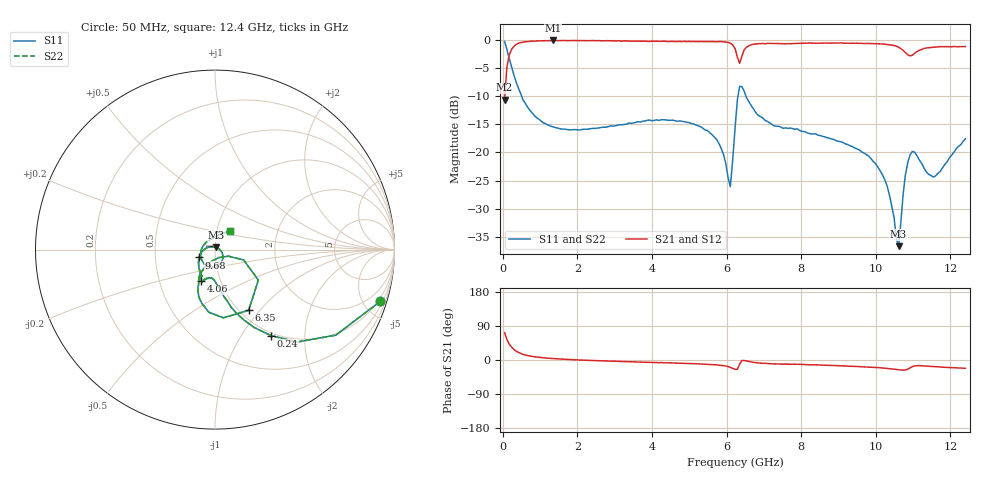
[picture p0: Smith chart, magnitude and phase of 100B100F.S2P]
!  American Technical Ceramics  Date:  3/13/98
!  One Norden Lane
!  Huntington Station,  NY.  11746-2102
!  Tel:  (516) 547-5700  Fax:  (516) 547-5748
!  Part Number  100b100f
!  Description: Porcelain, High Q, Low ESR
!  Application: Bypass, Coupling, Timing, Feedback
!  Tuning, Impedance Match, Blocking
# GHZ S DB R 50
! Freq  |S11|  S11 Ph  |S21|  S21 Ph  |S12|  S12 Ph  |S22|  S22 Ph
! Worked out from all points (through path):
!   201 points, 50 MHz to 12.4 GHz, reference 50 ohm
!   highest |S21| = -0.13 dB at 1.35 GHz (marker M1); lowest = -10.6 dB at 50 MHz (marker M2)
!   group delay of S21, straight-line fit = 7.98 ps
!   lowest |S11| = -36.6 dB at 10.61 GHz (marker M3), VSWR 1.03, Z = 50.8 + j1.25 ohm
!   |S11| at or under -10 dB: 505.6 MHz to 6.305 GHz (5.8 GHz wide, 170 % of centre); 6.517 GHz to end of sweep
!   |S22| runs from -36.6 to -0.3 dB; largest |S21 - S12| = 0
!   S11 on the Smith chart (normalised r, x): 50 MHz: 0.79, -6.42; 240 MHz: 0.96, -1.36; 4.06 GHz: 0.81, -0.29; 6.35 GHz: 1.10, -0.87; 9.68 GHz: 0.83, -0.07; 12.4 GHz: 1.15, +0.24
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0.05  -0.32 -17.4  -10.63 72.1  -10.63 72.1  -0.32 -17.4
0.11  -1.67 -35.3  -4.94 54.8  -4.94 54.8  -1.67 -35.3
0.24  -4.86 -57.0  -1.69 33.9  -1.69 33.9  -4.86 -57.0
0.54  -10.62 -76.6  -0.44 14.8  -0.44 14.8  -10.62 -76.6
1.35  -15.47 -92.3  -0.13 3.8  -0.13 3.8  -15.47 -92.3
2.15  -15.88 -101.0  -0.16 -0.4  -0.16 -0.4  -15.88 -101.0
4.06  -14.30 -114.3  -0.28 -6.6  -0.28 -6.6  -14.30 -114.3
4.19  -14.32 -115.7  -0.29 -7.0  -0.29 -7.0  -14.32 -115.7
5.61  -16.84 -121.0  -0.34 -11.9  -0.34 -11.9  -16.84 -121.0
5.92  -20.41 -118.1  -0.37 -14.9  -0.37 -14.9  -20.41 -118.1
6.1  -26.08 -64.3  -0.61 -19.3  -0.61 -19.3  -26.08 -64.3
6.23  -15.39 -19.9  -1.61 -24.9  -1.61 -24.9  -15.39 -19.9
6.35  -8.25 -61.0  -4.17 -10.7  -4.17 -10.7  -8.25 -61.0
6.66  -11.71 -111.0  -0.89 -5.2  -0.89 -5.2  -11.71 -111.0
8.32  -16.72 -124.8  -0.61 -12.6  -0.61 -12.6  -16.72 -124.8
9.68  -20.10 -153.9  -0.67 -18.0  -0.67 -18.0  -20.10 -153.9
10.36  -27.46 164.7  -0.90 -23.0  -0.90 -23.0  -27.46 164.7
10.61  -36.64 56.8  -1.33 -25.8  -1.33 -25.8  -36.64 56.8
10.79  -24.07 -42.6  -2.30 -26.3  -2.30 -26.3  -24.07 -42.6
10.92  -20.39 -86.8  -2.88 -20.6  -2.88 -20.6  -20.39 -86.8
11.54  -24.37 119.5  -1.33 -17.6  -1.33 -17.6  -24.37 119.5
12.4  -17.59 51.6  -1.22 -21.9  -1.22 -21.9  -17.59 51.6
